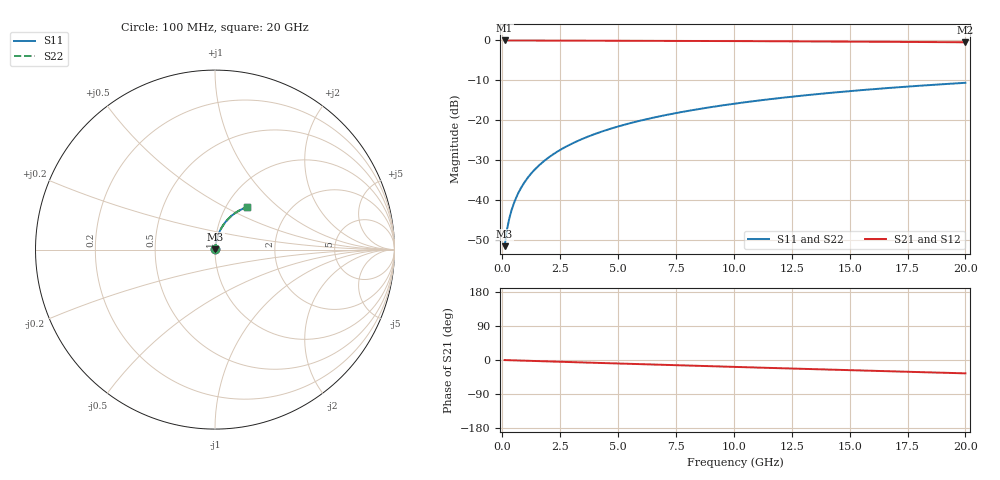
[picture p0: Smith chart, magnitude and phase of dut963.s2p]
! Touchstone file exported from HFSS 2026.1.0
!  File:  C:/ffzhzh/LocalFiles/Ansys_Project_Files/temp_train_TMRDL_963_1783158886_22436.aedt
!  Generated:  05:56:02 PM Jul  4, 2026
!  Design:  TMRDL
!  Project:  temp_train_TMRDL_963_1783158886_22436
! Variables:
!  h_bsmrdl = 2um
!  h_ox = 20um
!  h_rdl = 5um
!  h_sub = 80um
!  h_tmrdl = 4um
!  h_tsv = 80um
!  h_via = 3um
!  l_bsmrdl = 300um
!  l_sub = 915.41um
!  l_tmrdl = 515.41um
!  m_sub = 200um
!  pitch = 53.78um
!  r_tsv = 6um
!  s_tmrdl = 10um
!  w_bsmrdl = 18um
!  w_sub = 500um
!  w_tmrdl = 28.68um
!  x_tsv_center1 = 529.75um
!  x_tsv_center2 = 847.75um
!  x_tsv_center3 = 1391.84um
!  x_tsv_center4 = 1709.84um
!  x_tsv_center5 = 2253.93um
!  x_tsv_center6 = 2571.93um
# GHz S MA R 50.000000
! Terminal data exported
! Port[1] = TM_RDL1_1_T1
! Port[2] = TM_RDL1_1_T2
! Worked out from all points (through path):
!   200 points, 100 MHz to 20 GHz, reference 50 ohm
!   highest |S21| = -0.02 dB at 100 MHz (marker M1); lowest = -0.5 dB at 20 GHz (marker M2)
!   group delay of S21, straight-line fit = 4.89 ps
!   lowest |S11| = -51.5 dB at 100 MHz (marker M3), VSWR 1.01, Z = 50.2 + j0.191 ohm
!   |S11| at or under -10 dB: start of sweep to end of sweep
!   |S22| runs from -51.5 to -10.6 dB; largest |S21 - S12| = 4.1e-15
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0.1  0.002648 46.0  0.9982 -0.2  0.9982 -0.2  0.002648 46.0
! Gamma 0 0 0 0
! Port Impedance 50 0 50 0
0.2  0.004219 61.6  0.998 -0.4  0.998 -0.4  0.004218 61.6
0.3  0.005851 68.2  0.9979 -0.6  0.9979 -0.6  0.005851 68.2
0.4  0.007481 72.0  0.9978 -0.8  0.9978 -0.8  0.007481 72.0
0.5  0.009113 74.5  0.9977 -0.9  0.9977 -0.9  0.009113 74.5
0.6  0.01075 76.3  0.9976 -1.1  0.9976 -1.1  0.01075 76.3
0.8  0.01406 78.6  0.9975 -1.5  0.9975 -1.5  0.01406 78.6
1.1  0.01906 80.3  0.9973 -2.1  0.9973 -2.1  0.01906 80.3
1.5  0.02576 81.3  0.9971 -2.8  0.9971 -2.8  0.02576 81.3
1.8  0.03079 81.5  0.9968 -3.4  0.9968 -3.4  0.03079 81.6
2.1  0.03582 81.5  0.9966 -3.9  0.9966 -3.9  0.03582 81.5
2.7  0.04584 81.1  0.9959 -5.0  0.9959 -5.0  0.04584 81.1
3.5  0.05909 80.2  0.9948 -6.5  0.9948 -6.5  0.05909 80.2
4.2  0.07056 79.1  0.9937 -7.8  0.9937 -7.8  0.07056 79.1
5  0.08352 77.9  0.9923 -9.2  0.9923 -9.2  0.08352 77.9
5.9  0.0979 76.4  0.9905 -10.9  0.9905 -10.9  0.0979 76.4
6.8  0.1121 74.9  0.9886 -12.5  0.9886 -12.5  0.1121 74.9
8.3  0.1352 72.4  0.9851 -15.2  0.9851 -15.2  0.1352 72.4
10.1  0.1623 69.4  0.9804 -18.4  0.9804 -18.4  0.1623 69.4
13.4  0.2096 63.9  0.9705 -24.1  0.9705 -24.1  0.2096 63.9
16.7  0.2538 58.5  0.9593 -29.7  0.9593 -29.7  0.2538 58.5
20  0.2943 53.2  0.9473 -35.2  0.9473 -35.2  0.2943 53.2
